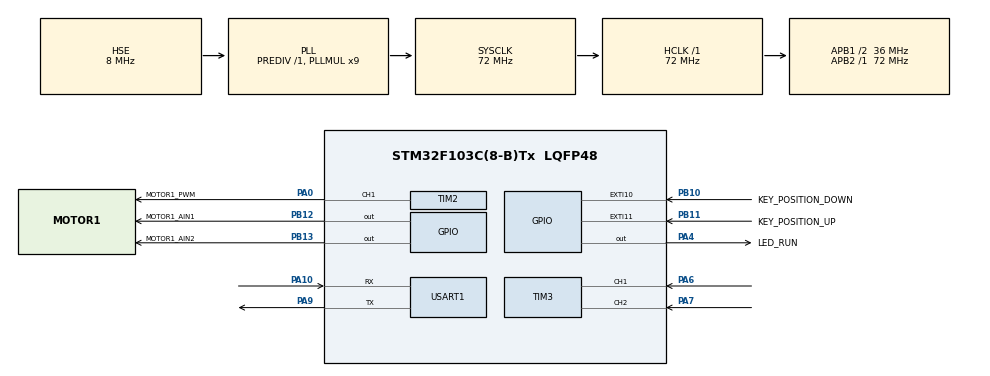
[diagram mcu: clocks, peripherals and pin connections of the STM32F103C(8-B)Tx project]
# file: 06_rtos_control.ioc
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FREERTOS.INCLUDE_vTaskDelayUntil=1
FREERTOS.Tasks01=defaultTask,0,128,StartDefaultTask,Default,NULL,Dynamic,NULL,NULL;UartTask,-2,256,StartUartTask,Default,NULL,Dynamic,NULL,NULL;ControlTask,0,256,StartControlTask,Default,NULL,Dynamic,NULL,NULL;ButtonTask,-2,128,StartButtonTask,Default,NULL,Dynamic,NULL,NULL
FREERTOS.configTOTAL_HEAP_SIZE=4096
Mcu.Family=STM32F1
Mcu.Name=STM32F103C(8-B)Tx
Mcu.Package=LQFP48
NVIC.EXTI15_10_IRQn=true\:5\:0\:false\:false\:true\:true\:true\:true\:true
NVIC.PriorityGroup=NVIC_PRIORITYGROUP_4
NVIC.TIM4_IRQn=true\:15\:0\:false\:false\:true\:false\:false\:true\:true
NVIC.TimeBase=TIM4_IRQn
NVIC.TimeBaseIP=TIM4
PA0-WKUP.GPIO_Label=MOTOR1_PWM
PA0-WKUP.Signal=S_TIM2_CH1_ETR
PA0-WKUP.Stacked=true
PA10.Mode=Asynchronous
PA10.Signal=USART1_RX
PA13.Mode=Serial_Wire
PA13.Signal=SYS_JTMS-SWDIO
PA14.Mode=Serial_Wire
PA14.Signal=SYS_JTCK-SWCLK
PA4.GPIO_Label=LED_RUN
PA4.PinState=GPIO_PIN_SET
PA4.Signal=GPIO_Output
PA6.Signal=S_TIM3_CH1
PA7.Signal=S_TIM3_CH2
PA9.Mode=Asynchronous
PA9.Signal=USART1_TX
PB10.GPIO_Label=KEY_POSITION_DOWN
PB10.GPIO_ModeDefaultEXTI=GPIO_MODE_IT_FALLING
PB10.GPIO_PuPd=GPIO_PULLUP
PB10.Signal=GPXTI10
PB11.GPIO_Label=KEY_POSITION_UP
PB11.GPIO_ModeDefaultEXTI=GPIO_MODE_IT_FALLING
PB11.GPIO_PuPd=GPIO_PULLUP
PB11.Signal=GPXTI11
PB12.GPIO_Label=MOTOR1_AIN1
PB12.Signal=GPIO_Output
PB13.GPIO_Label=MOTOR1_AIN2
PB13.Signal=GPIO_Output
PD0-OSC_IN.Mode=HSE-External-Oscillator
PD0-OSC_IN.Signal=RCC_OSC_IN
PD1-OSC_OUT.Mode=HSE-External-Oscillator
PD1-OSC_OUT.Signal=RCC_OSC_OUT
ProjectManager.HeapSize=0x200
ProjectManager.StackSize=0x400
ProjectManager.TargetToolchain=CMake
RCC.AHBFreq_Value=72000000
RCC.APB1CLKDivider=RCC_HCLK_DIV2
RCC.APB1Freq_Value=36000000
RCC.APB1TimFreq_Value=72000000
RCC.APB2Freq_Value=72000000
RCC.APB2TimFreq_Value=72000000
RCC.HCLKFreq_Value=72000000
RCC.PLLMUL=RCC_PLL_MUL9
RCC.PLLSourceVirtual=RCC_PLLSOURCE_HSE
RCC.SYSCLKFreq_VALUE=72000000
RCC.SYSCLKSource=RCC_SYSCLKSOURCE_PLLCLK
RCC.USBFreq_Value=72000000
SH.S_TIM2_CH1_ETR.0=TIM2_CH1,PWM Generation1 CH1
SH.S_TIM3_CH1.0=TIM3_CH1,Encoder_Interface
SH.S_TIM3_CH2.0=TIM3_CH2,Encoder_Interface
TIM2.Channel-PWM\ Generation1\ CH1=TIM_CHANNEL_1
TIM2.Period=999
TIM2.Prescaler=71
TIM3.EncoderMode=TIM_ENCODERMODE_TI12
USART1.VirtualMode=VM_ASYNC
VP_FREERTOS_VS_CMSIS_V1.Mode=CMSIS_V1
VP_SYS_VS_tim4.Mode=TIM4
VP_TIM2_VS_ClockSourceINT.Mode=Internal
board=custom

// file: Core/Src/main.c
/* USER CODE BEGIN Header */
/**
  ******************************************************************************
  * @file           : main.c
  * @brief          : Main program body
  ******************************************************************************
  * @attention
  *
  * Copyright (c) 2026 STMicroelectronics.
  * All rights reserved.
  *
  * This software is licensed under terms that can be found in the LICENSE file
  * in the root directory of this software component.
  * If no LICENSE file comes with this software, it is provided AS-IS.
  *
  ******************************************************************************
  */
/* USER CODE END Header */
#include "main.h"
#include "cmsis_os.h"
#include "tim.h"
#include "usart.h"
#include "gpio.h"

/* USER CODE BEGIN Includes */
#include "app_bridge.h"
/* USER CODE END Includes */

void SystemClock_Config(void);
void MX_FREERTOS_Init(void);

int main(void)
{

  /* MCU Configuration--------------------------------------------------------*/

  /* Reset of all peripherals, Initializes the Flash interface and the Systick. */
  HAL_Init();

  /* Configure the system clock */
  SystemClock_Config();

  /* Initialize all configured peripherals */
  MX_GPIO_Init();
  MX_USART1_UART_Init();
  MX_TIM3_Init();
  MX_TIM2_Init();
  /* USER CODE BEGIN 2 */
  Module_Init();
  /* USER CODE END 2 */

  /* Call init function for freertos objects (in cmsis_os2.c) */
  MX_FREERTOS_Init();

  /* Start scheduler */
  osKernelStart();

  /* We should never get here as control is now taken by the scheduler */

  /* Infinite loop */
  while (1)
  {

  }
}

void SystemClock_Config(void)
{
  RCC_OscInitTypeDef RCC_OscInitStruct = {0};
  RCC_ClkInitTypeDef RCC_ClkInitStruct = {0};

  /** Initializes the RCC Oscillators according to the specified parameters
  * in the RCC_OscInitTypeDef structure.
  */
  RCC_OscInitStruct.OscillatorType = RCC_OSCILLATORTYPE_HSE;
  RCC_OscInitStruct.HSEState = RCC_HSE_ON;
  RCC_OscInitStruct.HSEPredivValue = RCC_HSE_PREDIV_DIV1;
  RCC_OscInitStruct.HSIState = RCC_HSI_ON;
  RCC_OscInitStruct.PLL.PLLState = RCC_PLL_ON;
  RCC_OscInitStruct.PLL.PLLSource = RCC_PLLSOURCE_HSE;
  RCC_OscInitStruct.PLL.PLLMUL = RCC_PLL_MUL9;
  if (HAL_RCC_OscConfig(&RCC_OscInitStruct) != HAL_OK)
  {
    Error_Handler();
  }

  /** Initializes the CPU, AHB and APB buses clocks
  */
  RCC_ClkInitStruct.ClockType = RCC_CLOCKTYPE_HCLK|RCC_CLOCKTYPE_SYSCLK
                              |RCC_CLOCKTYPE_PCLK1|RCC_CLOCKTYPE_PCLK2;
  RCC_ClkInitStruct.SYSCLKSource = RCC_SYSCLKSOURCE_PLLCLK;
  RCC_ClkInitStruct.AHBCLKDivider = RCC_SYSCLK_DIV1;
  RCC_ClkInitStruct.APB1CLKDivider = RCC_HCLK_DIV2;
  RCC_ClkInitStruct.APB2CLKDivider = RCC_HCLK_DIV1;

  if (HAL_RCC_ClockConfig(&RCC_ClkInitStruct, FLASH_LATENCY_2) != HAL_OK)
  {
    Error_Handler();
  }
}

void HAL_TIM_PeriodElapsedCallback(TIM_HandleTypeDef *htim)
{
  if (htim->Instance == TIM4)
  {
    HAL_IncTick();
  }
}

void Error_Handler(void)
{
  __disable_irq();
  while (1)
  {
  }
}

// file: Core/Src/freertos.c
/* USER CODE BEGIN Header */
/**
  ******************************************************************************
  * File Name          : freertos.c
  * Description        : Code for freertos applications
  ******************************************************************************
  * @attention
  *
  * Copyright (c) 2026 STMicroelectronics.
  * All rights reserved.
  *
  * This software is licensed under terms that can be found in the LICENSE file
  * in the root directory of this software component.
  * If no LICENSE file comes with this software, it is provided AS-IS.
  *
  ******************************************************************************
  */
/* USER CODE END Header */

#include "FreeRTOS.h"
#include "task.h"
#include "main.h"
#include "cmsis_os.h"

/* USER CODE BEGIN Includes */
#include "usart.h"
#include "string.h"
#include "stdio.h"
#include "task_wrapper.h"
// #include "app_bridge.h"
/* USER CODE END Includes */

osThreadId defaultTaskHandle;
osThreadId UartTaskHandle;
osThreadId ControlTaskHandle;
osThreadId ButtonTaskHandle;

void StartDefaultTask(void const * argument);
void StartUartTask(void const * argument);
void StartControlTask(void const * argument);
void StartButtonTask(void const * argument);

void MX_FREERTOS_Init(void); /* (MISRA C 2004 rule 8.1) */

/* GetIdleTaskMemory prototype (linked to static allocation support) */
void vApplicationGetIdleTaskMemory( StaticTask_t **ppxIdleTaskTCBBuffer, StackType_t **ppxIdleTaskStackBuffer, uint32_t *pulIdleTaskStackSize );

/* USER CODE BEGIN GET_IDLE_TASK_MEMORY */
static StaticTask_t xIdleTaskTCBBuffer;
static StackType_t xIdleStack[configMINIMAL_STACK_SIZE];

void vApplicationGetIdleTaskMemory( StaticTask_t **ppxIdleTaskTCBBuffer, StackType_t **ppxIdleTaskStackBuffer, uint32_t *pulIdleTaskStackSize )
{
  *ppxIdleTaskTCBBuffer = &xIdleTaskTCBBuffer;
  *ppxIdleTaskStackBuffer = &xIdleStack[0];
  *pulIdleTaskStackSize = configMINIMAL_STACK_SIZE;
  /* place for user code */
}
/* USER CODE END GET_IDLE_TASK_MEMORY */

void MX_FREERTOS_Init(void) {

  /* Create the thread(s) */
  /* definition and creation of defaultTask */
  osThreadDef(defaultTask, StartDefaultTask, osPriorityNormal, 0, 128);
  defaultTaskHandle = osThreadCreate(osThread(defaultTask), NULL);

  /* definition and creation of UartTask */
  osThreadDef(UartTask, StartUartTask, osPriorityLow, 0, 256);
  UartTaskHandle = osThreadCreate(osThread(UartTask), NULL);

  /* definition and creation of ControlTask */
  osThreadDef(ControlTask, StartControlTask, osPriorityNormal, 0, 256);
  ControlTaskHandle = osThreadCreate(osThread(ControlTask), NULL);

  /* definition and creation of ButtonTask */
  osThreadDef(ButtonTask, StartButtonTask, osPriorityLow, 0, 128);
  ButtonTaskHandle = osThreadCreate(osThread(ButtonTask), NULL);

  /* USER CODE BEGIN RTOS_THREADS */
  /* add threads, ... */
  Module_RegisterButtonTaskHandle((void*)ButtonTaskHandle);
  /* USER CODE END RTOS_THREADS */

}

void StartDefaultTask(void const * argument)
{
  /* USER CODE BEGIN StartDefaultTask */
  /* Infinite loop */
  const char msg[] = "FreeRTOS Alive\r\n";

  for (;;)
  {
      HAL_UART_Transmit(
          &huart1,
          (uint8_t*)msg,
          sizeof(msg) - 1,
          100
      );

      osDelay(1000);
    }
  /* USER CODE END StartDefaultTask */
}

void StartUartTask(void const * argument)
{
  /* USER CODE BEGIN StartUartTask */
  LoggerTask(Module_GetSystemContext());
  /* USER CODE END StartUartTask */
}

void StartControlTask(void const * argument)
{
  /* USER CODE BEGIN StartControlTask */
  ControlTask(Module_GetSystemContext());
  /* USER CODE END StartControlTask */
}

void StartButtonTask(void const * argument)
{
  /* USER CODE BEGIN StartButtonTask */
  /* Infinite loop */
   ButtonTask(Module_GetSystemContext());
  /* USER CODE END StartButtonTask */
}
